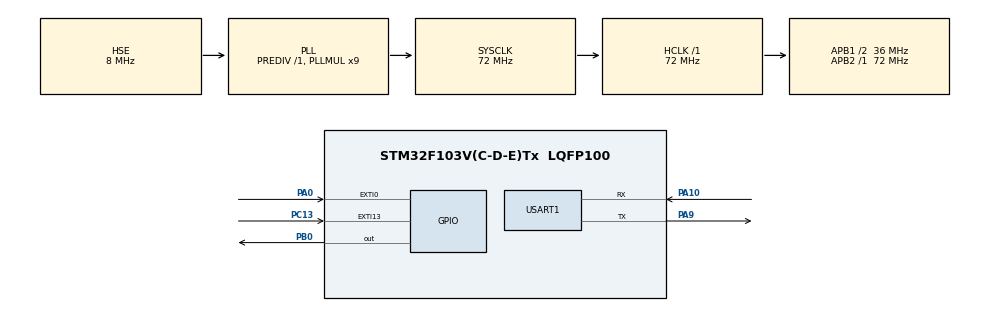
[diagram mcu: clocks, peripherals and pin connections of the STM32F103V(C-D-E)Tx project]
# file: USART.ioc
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Mcu.Family=STM32F1
Mcu.Name=STM32F103V(C-D-E)Tx
Mcu.Package=LQFP100
NVIC.EXTI0_IRQn=true\:0\:0\:false\:false\:true\:true\:true
NVIC.EXTI15_10_IRQn=true\:0\:0\:false\:false\:true\:true\:true
NVIC.PriorityGroup=NVIC_PRIORITYGROUP_4
NVIC.USART1_IRQn=true\:0\:0\:true\:false\:true\:true\:true
OSC_IN.Mode=HSE-External-Oscillator
OSC_IN.Signal=RCC_OSC_IN
OSC_OUT.Mode=HSE-External-Oscillator
OSC_OUT.Signal=RCC_OSC_OUT
PA0-WKUP.Signal=GPXTI0
PA10.Mode=Asynchronous
PA10.Signal=USART1_RX
PA13.Mode=Serial_Wire
PA13.Signal=SYS_JTMS-SWDIO
PA14.Mode=Serial_Wire
PA14.Signal=SYS_JTCK-SWCLK
PA9.Mode=Asynchronous
PA9.Signal=USART1_TX
PB0.GPIO_PuPd=GPIO_PULLUP
PB0.GPIO_Speed=GPIO_SPEED_FREQ_HIGH
PB0.PinState=GPIO_PIN_RESET
PB0.Signal=GPIO_Output
PC13-TAMPER-RTC.Signal=GPXTI13
PC14-OSC32_IN.Mode=LSE-External-Oscillator
PC14-OSC32_IN.Signal=RCC_OSC32_IN
PC15-OSC32_OUT.Mode=LSE-External-Oscillator
PC15-OSC32_OUT.Signal=RCC_OSC32_OUT
ProjectManager.HeapSize=0x200
ProjectManager.StackSize=0x400
ProjectManager.TargetToolchain=MDK-ARM V5
RCC.AHBFreq_Value=72000000
RCC.APB1CLKDivider=RCC_HCLK_DIV2
RCC.APB1Freq_Value=36000000
RCC.APB1TimFreq_Value=72000000
RCC.APB2Freq_Value=72000000
RCC.APB2TimFreq_Value=72000000
RCC.HCLKFreq_Value=72000000
RCC.PLLMUL=RCC_PLL_MUL9
RCC.PLLSourceVirtual=RCC_PLLSOURCE_HSE
RCC.SYSCLKFreq_VALUE=72000000
RCC.SYSCLKSource=RCC_SYSCLKSOURCE_PLLCLK
RCC.USBFreq_Value=72000000
USART1.VirtualMode=VM_ASYNC
board=custom

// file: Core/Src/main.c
/* USER CODE BEGIN Header */
/**
  ******************************************************************************
  * @file           : main.c
  * @brief          : Main program body
  ******************************************************************************
  * @attention
  *
  * Copyright (c) 2022 STMicroelectronics.
  * All rights reserved.
  *
  * This software is licensed under terms that can be found in the LICENSE file
  * in the root directory of this software component.
  * If no LICENSE file comes with this software, it is provided AS-IS.
  *
  ******************************************************************************
  */
/* USER CODE END Header */
#include "main.h"
#include "usart.h"
#include "gpio.h"

void SystemClock_Config(void);

int main(void)
{

  /* MCU Configuration--------------------------------------------------------*/

  /* Reset of all peripherals, Initializes the Flash interface and the Systick. */
  HAL_Init();

  /* Configure the system clock */
  SystemClock_Config();

  /* Initialize all configured peripherals */
  MX_GPIO_Init();
  MX_USART1_UART_Init();

  /* Infinite loop */
  while (1)
  {

    /* USER CODE BEGIN 3 */
  if(HAL_GPIO_ReadPin(GPIOA,GPIO_PIN_0)==1&&HAL_GPIO_ReadPin(GPIOC,GPIO_PIN_13)==0)
	{
		HAL_Delay(20);
		while(HAL_GPIO_ReadPin(GPIOA,GPIO_PIN_0)==0)
		{
		HAL_Delay(5);
		HAL_GPIO_TogglePin(GPIOB,GPIO_PIN_0);
		HAL_Delay(500);
		HAL_GPIO_TogglePin(GPIOB,GPIO_PIN_0);
		HAL_Delay(500);
		if(HAL_GPIO_ReadPin(GPIOC,GPIO_PIN_13)==1) break;
		}

	}
	if(HAL_GPIO_ReadPin(GPIOC,GPIO_PIN_13)==1)
	{
		if(HAL_GPIO_ReadPin(GPIOA,GPIO_PIN_0)==0)
		{
		HAL_Delay(20);
		while(HAL_GPIO_ReadPin(GPIOC,GPIO_PIN_13)==0)
		{
		HAL_Delay(5);
		HAL_GPIO_TogglePin(GPIOB,GPIO_PIN_0);
		HAL_Delay(125);
		HAL_GPIO_TogglePin(GPIOB,GPIO_PIN_0);
		HAL_Delay(125);
		if(HAL_GPIO_ReadPin(GPIOA,GPIO_PIN_0)==1) break;
		}
	}
	}
	if(HAL_GPIO_ReadPin(GPIOC,GPIO_PIN_13)==1)
	{
		if(HAL_GPIO_ReadPin(GPIOA,GPIO_PIN_0)==1)
		{
		HAL_Delay(20);
		while(HAL_GPIO_ReadPin(GPIOA,GPIO_PIN_0)==0)
		{
		HAL_Delay(5);
		HAL_GPIO_TogglePin(GPIOB,GPIO_PIN_0);
		HAL_Delay(50);
		HAL_GPIO_TogglePin(GPIOB,GPIO_PIN_0);
		HAL_Delay(50);
		if(HAL_GPIO_ReadPin(GPIOA,GPIO_PIN_0)==1&&HAL_GPIO_ReadPin(GPIOC,GPIO_PIN_13)==1) break;
		}
	}
	}

	}
  /* USER CODE END 3 */
}

void SystemClock_Config(void)
{
  RCC_OscInitTypeDef RCC_OscInitStruct = {0};
  RCC_ClkInitTypeDef RCC_ClkInitStruct = {0};

  /** Initializes the RCC Oscillators according to the specified parameters
  * in the RCC_OscInitTypeDef structure.
  */
  RCC_OscInitStruct.OscillatorType = RCC_OSCILLATORTYPE_HSE;
  RCC_OscInitStruct.HSEState = RCC_HSE_ON;
  RCC_OscInitStruct.HSEPredivValue = RCC_HSE_PREDIV_DIV1;
  RCC_OscInitStruct.HSIState = RCC_HSI_ON;
  RCC_OscInitStruct.PLL.PLLState = RCC_PLL_ON;
  RCC_OscInitStruct.PLL.PLLSource = RCC_PLLSOURCE_HSE;
  RCC_OscInitStruct.PLL.PLLMUL = RCC_PLL_MUL9;
  if (HAL_RCC_OscConfig(&RCC_OscInitStruct) != HAL_OK)
  {
    Error_Handler();
  }
  /** Initializes the CPU, AHB and APB buses clocks
  */
  RCC_ClkInitStruct.ClockType = RCC_CLOCKTYPE_HCLK|RCC_CLOCKTYPE_SYSCLK
                              |RCC_CLOCKTYPE_PCLK1|RCC_CLOCKTYPE_PCLK2;
  RCC_ClkInitStruct.SYSCLKSource = RCC_SYSCLKSOURCE_PLLCLK;
  RCC_ClkInitStruct.AHBCLKDivider = RCC_SYSCLK_DIV1;
  RCC_ClkInitStruct.APB1CLKDivider = RCC_HCLK_DIV2;
  RCC_ClkInitStruct.APB2CLKDivider = RCC_HCLK_DIV1;

  if (HAL_RCC_ClockConfig(&RCC_ClkInitStruct, FLASH_LATENCY_2) != HAL_OK)
  {
    Error_Handler();
  }
}

/* USER CODE BEGIN 4 */
void HAL_UART_TxCpltCallback(UART_HandleTypeDef *huart)
{

}
/* USER CODE END 4 */

void Error_Handler(void)
{
  __disable_irq();
  while (1)
  {
  }
}
